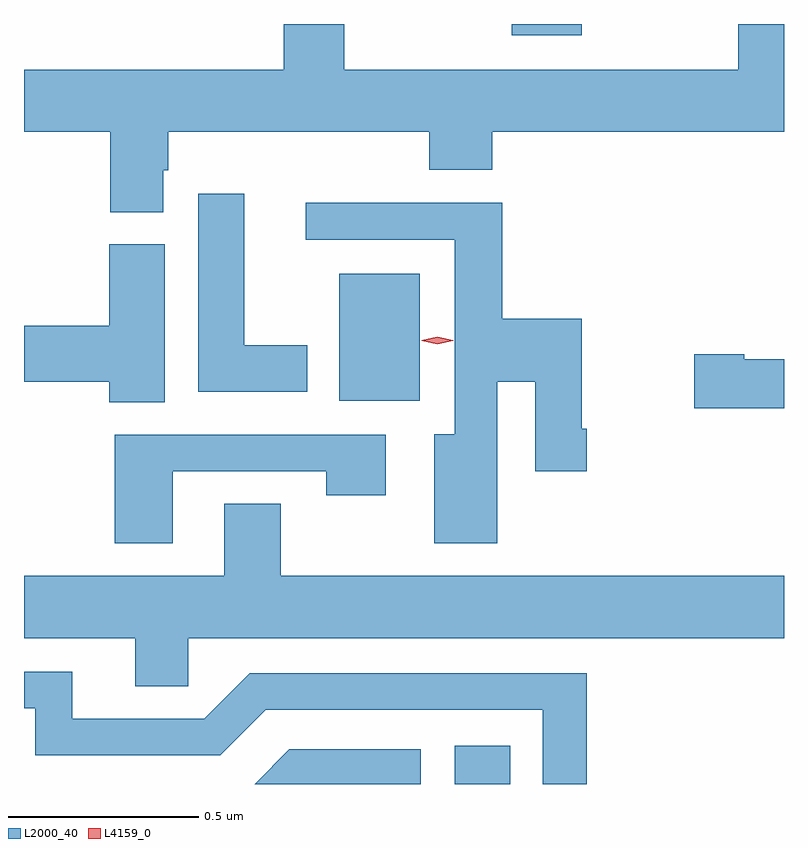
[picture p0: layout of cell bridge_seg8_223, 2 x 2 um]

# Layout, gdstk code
import gdstk
lib = gdstk.Library(unit=1e-6, precision=1e-09)
def R(c, l, rs):  # rectangles x0, y0, x1, y1
    for r in rs: c.add(gdstk.rectangle(r[:2], r[2:], *l))
def P(c, l, *ps):  # polygons
    for p in ps: c.add(gdstk.Polygon(p, *l))
L2000_40 = (2000, 40)
L4159_0 = (4159, 0)

bridge_seg8_223 = lib.new_cell('bridge_seg8_223')
R(bridge_seg8_223, L2000_40, [(134.958,1082.816,135.104,1082.917), (134.654,1083.824,134.866,1084.159), (135.107,1084.787,135.292,1084.816)])
P(bridge_seg8_223, L2000_40, [(134.191,1084.431),(134.204,1084.431),(134.204,1084.532),(134.891,1084.532),(134.891,1084.433),(135.056,1084.433),(135.056,1084.532),(135.824,1084.532),(135.824,1084.816),(135.704,1084.816),(135.704,1084.696),(134.667,1084.696),(134.667,1084.816),(134.507,1084.816),(134.507,1084.696),(133.824,1084.696),(133.824,1084.532),(134.051,1084.532),(134.051,1084.321),(134.191,1084.321)],
  [(134.569,1083.97),(134.404,1083.97),(134.404,1084.369),(134.282,1084.369),(134.282,1083.848),(134.569,1083.848)],
  [(135.07,1083.875),(135.17,1083.875),(135.17,1083.639),(135.305,1083.639),(135.305,1083.751),(135.292,1083.751),(135.292,1084.04),(135.083,1084.04),(135.083,1084.346),(134.565,1084.346),(134.565,1084.248),(134.957,1084.248),(134.957,1083.736),(134.903,1083.736),(134.903,1083.45),(135.07,1083.45)],
  [(134.194,1084.236),(134.048,1084.236),(134.048,1084.022),(133.824,1084.022),(133.824,1083.875),(134.048,1083.875),(134.048,1083.82),(134.194,1083.82)],
  [(135.824,1083.934),(135.72,1083.934),(135.72,1083.947),(135.588,1083.947),(135.588,1083.805),(135.824,1083.805)],
  [(134.215,1083.639),(134.62,1083.639),(134.62,1083.576),(134.776,1083.576),(134.776,1083.735),(134.063,1083.735),(134.063,1083.45),(134.215,1083.45)],
  [(134.256,1083.2),(135.824,1083.2),(135.824,1083.364),(134.499,1083.364),(134.499,1083.554),(134.351,1083.554),(134.351,1083.364),(133.824,1083.364),(133.824,1083.2),(134.117,1083.2),(134.117,1083.073),(134.256,1083.073)],
  [(135.305,1083.108),(134.418,1083.108),(134.298,1082.988),(133.951,1082.988),(133.951,1083.111),(133.824,1083.111),(133.824,1083.015),(133.854,1083.015),(133.854,1082.892),(134.34,1082.892),(134.46,1083.012),(135.189,1083.012),(135.189,1082.816),(135.305,1082.816)],
  [(134.868,1082.907),(134.522,1082.907),(134.431,1082.816),(134.868,1082.816)])
P(bridge_seg8_223, L4159_0, [(134.912,1083.973),(134.871,1083.983),(134.871,1083.983),(134.871,1083.984),(134.912,1083.993),(134.953,1083.984),(134.953,1083.983),(134.953,1083.983)])

lib.write_gds('bridge_seg8_223.gds')
